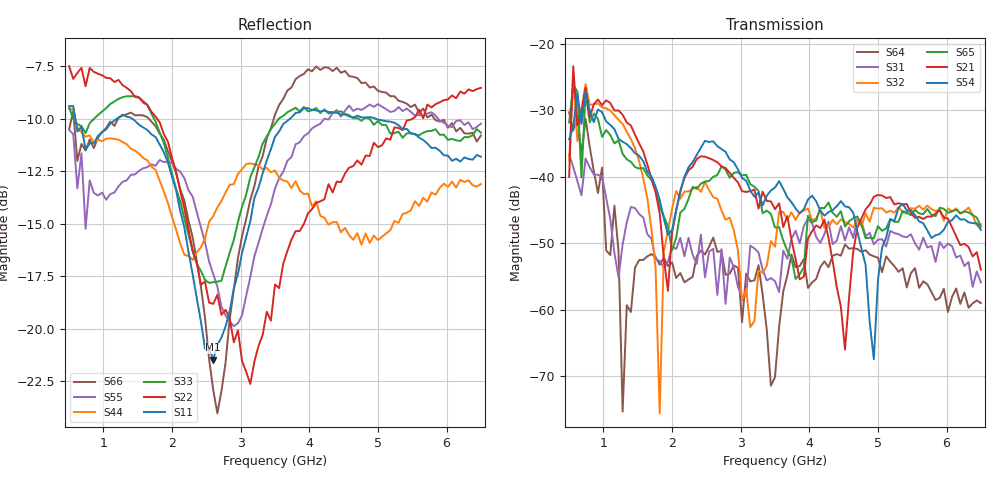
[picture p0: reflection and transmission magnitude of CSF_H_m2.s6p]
!Keysight Technologies,M9804A,MY58100912,A.14.10.03
!Date: Thursday, April 27, 2023 10:28:33
!Correction: S11(C  6-Port  )
!S12(C  6-Port  )
!S13(C  6-Port  )
!S14(C  6-Port  )
!S15(C  6-Port  )
!S16(C  6-Port  )
!S21(C  6-Port  )
!S22(C  6-Port  )
!S23(C  6-Port  )
!S24(C  6-Port  )
!S25(C  6-Port  )
!S26(C  6-Port  )
!S31(C  6-Port  )
!S32(C  6-Port  )
!S33(C  6-Port  )
!S34(C  6-Port  )
!S35(C  6-Port  )
!S36(C  6-Port  )
!S41(C  6-Port  )
!S42(C  6-Port  )
!S43(C  6-Port  )
!S44(C  6-Port  )
!S45(C  6-Port  )
!S46(C  6-Port  )
!S51(C  6-Port  )
!S52(C  6-Port  )
!S53(C  6-Port  )
!S54(C  6-Port  )
!S55(C  6-Port  )
!S56(C  6-Port  )
!S61(C  6-Port  )
!S62(C  6-Port  )
!S63(C  6-Port  )
!S64(C  6-Port  )
!S65(C  6-Port  )
!S66(C  6-Port  )
!S6P File: Measurement: :
# Hz S  RI  R 50
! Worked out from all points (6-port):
!   101 points, 500 MHz to 6.5 GHz, reference 50 ohm
!   strongest paths, dB at 500 MHz, 2 GHz, 3.5 GHz, 5 GHz, 6.5 GHz:
!     S54: -34.3, -48.0, -41.6, -55.6, -48.0
!     S21: -40.0, -48.4, -44.9, -42.7, -54.0
!     S65: -31.8, -51.1, -47.6, -47.4, -47.5
!     S32: -37.4, -44.8, -50.5, -44.8, -47.1
!     S31: -36.6, -50.5, -55.7, -49.5, -55.9
!     S64: -30.3, -52.9, -70.1, -52.2, -59.0
!   lowest |S11| = -21.5 dB at 2.6 GHz (marker M1), VSWR 1.18, Z = 42.5 + j2.15 ohm
!   |S11| at or under -10 dB: 590.2 MHz to 1.193 GHz (602.9 MHz wide, 67.6 % of centre); 1.424 GHz to 3.715 GHz (2.291 GHz wide, 89.1 % of centre); 4.974 GHz to end of sweep
